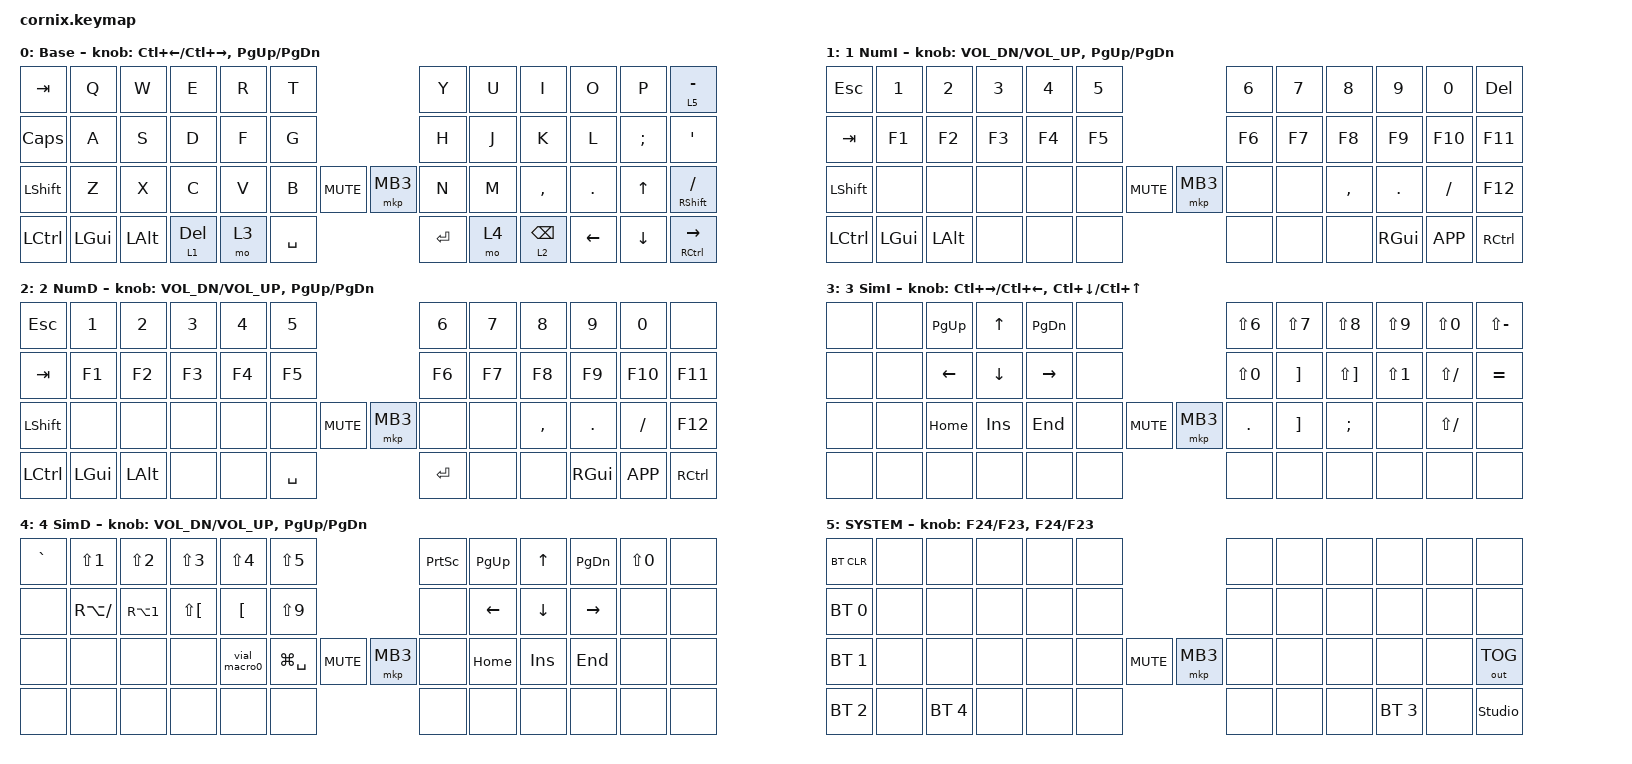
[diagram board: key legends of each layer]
/*
 * Copyright (c) 2025 The ZMK Contributors
 *
 * SPDX-License-Identifier: MIT
 */

#include <behaviors.dtsi>
#include <dt-bindings/zmk/bt.h>
#include <dt-bindings/zmk/keys.h>
#include <dt-bindings/zmk/mouse.h>

#include "zmk-helpers/helper.h"
#include "includes/cornix54.h"

#include <dt-bindings/zmk/outputs.h>
#include <dt-bindings/zmk/bt.h>

&mt {
    tapping-term-ms = <200>;
    quick-tap-ms = <150>;
    flavor = "tap-preferred";
};

/ {
    macros {
        vial_macro0: vial_macro0 {
            compatible = "zmk,behavior-macro";
            #binding-cells = <0>;
            bindings = <&kp N1 &kp N3 &kp DOT &kp G &kp A &kp T &kp O &kp RA(N2) &kp N2>;
        };
    };

    combos {
        compatible = "zmk,combos";
        combo_bslh {
            timeout-ms = <50>;
            key-positions = <32 40>; 
            bindings = <&kp BSLH>;
        };
        combo_ralt_n {
            timeout-ms = <50>;
            key-positions = <32 33>;
            bindings = <&kp RA(N)>;
        };
    };

    keymap {
        compatible = "zmk,keymap";

        default_layer {
            display-name = "Base";
            bindings = <
&kp TAB    &kp Q         &kp W        &kp E           &kp R    &kp T                                        &kp Y     &kp U    &kp I     &kp O      &kp P         &lt 5 MINUS
&kp CAPS   &kp A         &kp S        &kp D           &kp F    &kp G                                        &kp H     &kp J    &kp K     &kp L      &kp SCLN      &kp SQT
&kp LSHFT  &kp Z         &kp X        &kp C           &kp V    &kp B     &kp C_MUTE        &mkp MB3         &kp N     &kp M    &kp COMMA &kp DOT    &kp UP        &mt RSHFT FSLH
&kp LCTRL  &kp LGUI      &kp LALT     &lt 1 DEL       &mo 3    &kp SPACE                                    &kp ENTER &mo 4    &lt 2 BSPC &kp LEFT  &kp DOWN      &mt RCTRL RIGHT
            >;

            sensor-bindings = <&inc_dec_kp LC(LEFT) LC(RIGHT)>, <&inc_dec_kp PG_UP PG_DN>;
        };

        orange_layer {
            display-name = "1 NumI";
            bindings = <
&kp ESC    &kp N1        &kp N2       &kp N3          &kp N4   &kp N5                                       &kp N6    &kp N7   &kp N8    &kp N9     &kp N0        &kp DEL
&kp TAB    &kp F1        &kp F2       &kp F3          &kp F4   &kp F5                                       &kp F6    &kp F7   &kp F8    &kp F9     &kp F10       &kp F11
&kp LSHFT  &none         &none        &none           &none    &none     &kp C_MUTE        &mkp MB3         &none     &none    &kp COMMA &kp DOT    &kp FSLH      &kp F12
&kp LCTRL  &kp LGUI      &kp LALT     &none           &none    &none                                        &none     &none    &none     &kp RGUI   &kp K_APP     &kp RCTRL
            >;

            sensor-bindings = <&inc_dec_kp C_VOL_DN C_VOL_UP>, <&inc_dec_kp PG_UP PG_DN>;
        };

        lower_layer {
            display-name = "2 NumD";
            bindings = <
&kp ESC    &kp N1        &kp N2       &kp N3          &kp N4   &kp N5                                       &kp N6    &kp N7   &kp N8    &kp N9     &kp N0        &none
&kp TAB    &kp F1        &kp F2       &kp F3          &kp F4   &kp F5                                       &kp F6    &kp F7   &kp F8    &kp F9     &kp F10       &kp F11
&kp LSHFT  &none         &none        &none           &none    &none     &kp C_MUTE        &mkp MB3         &none     &none    &kp COMMA &kp DOT    &kp FSLH      &kp F12
&kp LCTRL  &kp LGUI      &kp LALT     &none           &none    &kp SPACE                                    &kp ENTER &none    &none     &kp RGUI   &kp K_APP     &kp RCTRL
            >;

            sensor-bindings = <&inc_dec_kp C_VOL_DN C_VOL_UP>, <&inc_dec_kp PG_UP PG_DN>;
        };

        raise_layer {
            display-name = "3 SimI";
            bindings = <
&none      &none         &kp PG_UP    &kp UP          &kp PG_DN &none                                       &kp LS(N6) &kp LS(N7) &kp LS(N8) &kp LS(N9) &kp LS(N0) &kp LS(MINUS)
&none      &none         &kp LEFT     &kp DOWN        &kp RIGHT &none                                       &kp LS(N0) &kp RBKT   &kp LS(RBKT) &kp LS(N1) &kp LS(FSLH) &kp EQUAL
&none      &none         &kp HOME     &kp INS         &kp END   &none     &kp C_MUTE        &mkp MB3         &kp DOT    &kp RBKT   &kp SCLN   &none      &kp LS(FSLH)  &none
&none      &none         &none        &none           &none     &none                                       &none      &none      &none      &none      &none         &none
            >;

            // IZQ: Palabras (Ctrl+Flechas) | DER: Párrafos (Ctrl+Arriba/Abajo)
            sensor-bindings = <&inc_dec_kp LC(RIGHT) LC(LEFT)>, <&inc_dec_kp LC(DOWN) LC(UP)>;
        };

        green_layer {
            display-name = "4 SimD";
            bindings = <
&kp GRAVE  &kp LS(N1)    &kp LS(N2)   &kp LS(N3)      &kp LS(N4) &kp LS(N5)                                     &kp PSCRN &kp PG_UP &kp UP    &kp PG_DN  &kp LS(N0)    &none
&none      &kp RA(FSLH)  &kp RA(N1)   &kp LS(LBKT)    &kp LBKT   &kp LS(N9)                                     &none     &kp LEFT  &kp DOWN  &kp RIGHT  &none         &none
&none      &none         &none        &none           &vial_macro0 &kp LG(SPACE) &kp C_MUTE    &mkp MB3         &none     &kp HOME  &kp INS   &kp END    &none         &none
&none      &none         &none        &none           &none      &none                                          &none     &none     &none     &none      &none         &none
            >;

            sensor-bindings = <&inc_dec_kp C_VOL_DN C_VOL_UP>, <&inc_dec_kp PG_UP PG_DN>;
        };

        system_layer {
            display-name = "SYSTEM";
            bindings = <
&bt BT_CLR   &none       &none        &none           &none    &none                                        &none     &none    &none     &none      &none         &none
&bt BT_SEL 0 &none       &none        &none           &none    &none                                        &none     &none    &none     &none      &none         &none
&bt BT_SEL 1 &none       &none        &none           &none    &none     &kp C_MUTE        &mkp MB3         &none     &none    &none     &none      &none         &out OUT_TOG
&bt BT_SEL 2 &none       &bt BT_SEL 4 &none           &none    &none                                        &none     &none    &none     &bt BT_SEL 3 &none       &studio_unlock
            >;

            // Brillo del Dongle: F24 (Subir) / F23 (Bajar) 
            sensor-bindings = <&inc_dec_kp F24 F23>, <&inc_dec_kp F24 F23>;
        };
    };
};
